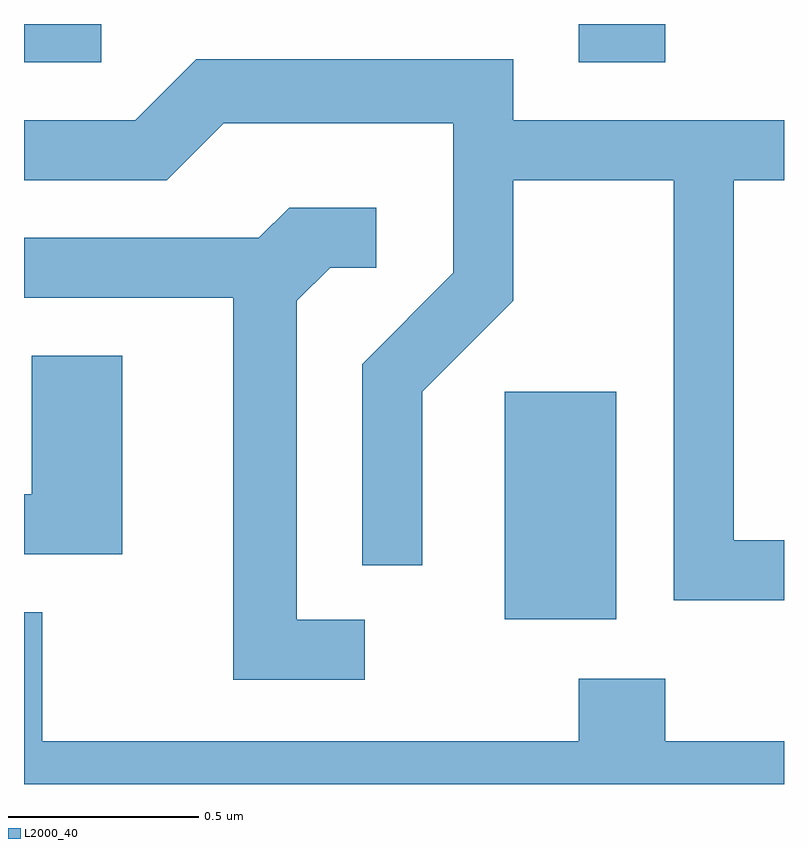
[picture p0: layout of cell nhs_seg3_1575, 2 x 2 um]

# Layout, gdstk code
import gdstk
lib = gdstk.Library(unit=1e-6, precision=1e-09)
def R(c, l, rs):  # rectangles x0, y0, x1, y1
    for r in rs: c.add(gdstk.rectangle(r[:2], r[2:], *l))
def P(c, l, *ps):  # polygons
    for p in ps: c.add(gdstk.Polygon(p, *l))
L2000_40 = (2000, 40)

nhs_seg3_1575 = lib.new_cell('nhs_seg3_1575')
R(nhs_seg3_1575, L2000_40, [(197.876,1184.326,198.169,1184.924), (196.611,1185.791,196.814,1185.892), (198.071,1185.791,198.299,1185.892)])
P(nhs_seg3_1575, L2000_40, [(198.611,1184.534),(198.479,1184.534),(198.479,1185.481),(198.611,1185.481),(198.611,1185.639),(197.899,1185.639),(197.899,1185.799),(197.064,1185.799),(196.904,1185.639),(196.611,1185.639),(196.611,1185.481),(196.987,1185.481),(197.137,1185.631),(197.741,1185.631),(197.741,1185.237),(197.501,1184.997),(197.501,1184.468),(197.659,1184.468),(197.659,1184.924),(197.899,1185.164),(197.899,1185.481),(198.321,1185.481),(198.321,1184.376),(198.611,1184.376)],
  [(197.508,1184.324),(197.329,1184.324),(197.329,1185.164),(197.417,1185.251),(197.538,1185.251),(197.538,1185.409),(197.309,1185.409),(197.229,1185.329),(196.611,1185.329),(196.611,1185.171),(197.161,1185.171),(197.161,1184.166),(197.508,1184.166)],
  [(196.869,1185.019),(196.631,1185.019),(196.631,1184.654),(196.611,1184.654),(196.611,1184.496),(196.869,1184.496)],
  [(198.611,1184.004),(198.299,1184.004),(198.299,1184.169),(198.071,1184.169),(198.071,1184.004),(196.659,1184.004),(196.659,1184.344),(196.611,1184.344),(196.611,1183.892),(198.611,1183.892)])

lib.write_gds('nhs_seg3_1575.gds')
